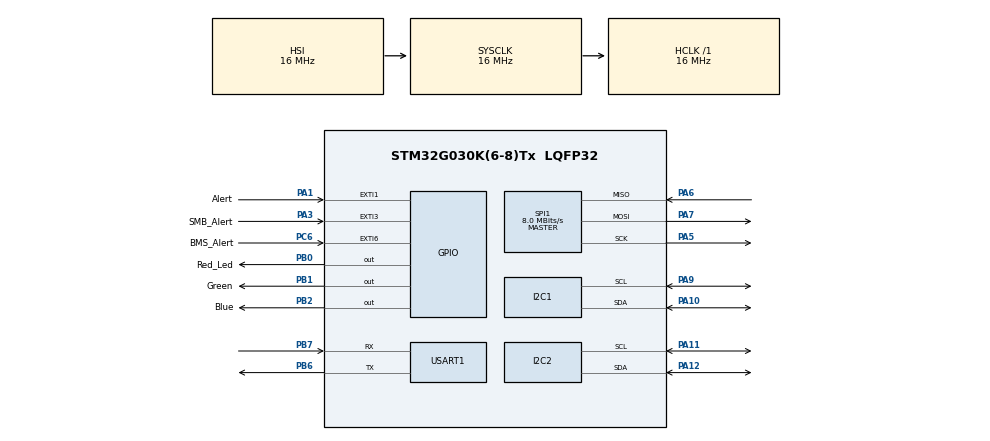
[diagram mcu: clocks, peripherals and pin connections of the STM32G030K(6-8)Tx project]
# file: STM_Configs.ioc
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I2C1.Timing=0x00503D58
I2C2.Timing=0x00503D58
Mcu.Family=STM32G0
Mcu.Name=STM32G030K(6-8)Tx
Mcu.Package=LQFP32
PA1.GPIO_Label=Alert
PA1.Signal=GPXTI1
PA10.Mode=I2C
PA10.Signal=I2C1_SDA
PA11\ [PA9].Mode=I2C
PA11\ [PA9].Signal=I2C2_SCL
PA12\ [PA10].Mode=I2C
PA12\ [PA10].Signal=I2C2_SDA
PA13.Mode=Serial_Wire
PA13.Signal=SYS_SWDIO
PA14-BOOT0.Mode=Serial_Wire
PA14-BOOT0.Signal=SYS_SWCLK
PA3.GPIO_Label=SMB_Alert
PA3.Signal=GPXTI3
PA4.Signal=SPI1_NSS
PA5.Mode=Full_Duplex_Master
PA5.Signal=SPI1_SCK
PA6.Mode=Full_Duplex_Master
PA6.Signal=SPI1_MISO
PA7.Mode=Full_Duplex_Master
PA7.Signal=SPI1_MOSI
PA9.Mode=I2C
PA9.Signal=I2C1_SCL
PB0.GPIO_Label=Red_Led
PB0.Signal=GPIO_Output
PB1.GPIO_Label=Green
PB1.Signal=GPIO_Output
PB2.GPIO_Label=Blue
PB2.Signal=GPIO_Output
PB6.Mode=Asynchronous
PB6.Signal=USART1_TX
PB7.Mode=Asynchronous
PB7.Signal=USART1_RX
PC6.GPIO_Label=BMS_Alert
PC6.Signal=GPXTI6
ProjectManager.HeapSize=0x200
ProjectManager.StackSize=0x400
ProjectManager.TargetToolchain=STM32CubeIDE
RCC.AHBFreq_Value=16000000
RCC.CortexFreq_Value=16000000
RCC.EXTERNAL_CLOCK_VALUE=12288000
RCC.HCLKFreq_Value=16000000
RCC.HSE_VALUE=8000000
RCC.HSI_VALUE=16000000
RCC.LSE_VALUE=32768
RCC.SYSCLKFreq_VALUE=16000000
RCC.VCOOutputFreq_Value=128000000
SPI1.CalculateBaudRate=8.0 MBits/s
SPI1.Direction=SPI_DIRECTION_2LINES
SPI1.Mode=SPI_MODE_MASTER
SPI1.VirtualType=VM_MASTER
USART1.VirtualMode-Asynchronous=VM_ASYNC
board=custom

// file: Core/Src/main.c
/* USER CODE BEGIN Header */
/**
  ******************************************************************************
  * @file           : main.c
  * @brief          : Main program body
  ******************************************************************************
  * @attention
  *
  * Copyright (c) 2026 STMicroelectronics.
  * All rights reserved.
  *
  * This software is licensed under terms that can be found in the LICENSE file
  * in the root directory of this software component.
  * If no LICENSE file comes with this software, it is provided AS-IS.
  *
  ******************************************************************************
  */
/* USER CODE END Header */
#include "main.h"
#include "i2c.h"
#include "spi.h"
#include "usart.h"
#include "gpio.h"

/* USER CODE BEGIN Includes */
#include "bms_app.h"
#include "bms_i2c.h"
#include "telemetry.h"
/* USER CODE END Includes */

/* USER CODE BEGIN PV */
static BMS_AppContext g_bms_app;
/* USER CODE END PV */

void SystemClock_Config(void);

/* USER CODE BEGIN 0 */
static void BMS_TelemetryUartSink(const char *line, size_t len, void *ctx)
{
  static const uint8_t crlf[2] = {'\r', '\n'};
  (void)ctx;
  if ((line == 0) || (len == 0U)) {
    return;
  }
  (void)HAL_UART_Transmit(&huart1, (uint8_t *)line, (uint16_t)len, 50U);
  (void)HAL_UART_Transmit(&huart1, (uint8_t *)crlf, 2U, 50U);
}
/* USER CODE END 0 */

int main(void)
{

  /* MCU Configuration--------------------------------------------------------*/

  /* Reset of all peripherals, Initializes the Flash interface and the Systick. */
  HAL_Init();

  /* Configure the system clock */
  SystemClock_Config();

  /* Initialize all configured peripherals */
  MX_GPIO_Init();
  MX_I2C1_Init();
  MX_I2C2_Init();
  MX_SPI1_Init();
  MX_USART1_UART_Init();
  /* USER CODE BEGIN 2 */
  Telemetry_Init();
  Telemetry_SetSink(BMS_TelemetryUartSink, 0);
  BMS_I2C_UseHalTransport();
  BMS_App_Init(&g_bms_app);
  BMS_App_OnBoot(&g_bms_app, HAL_GetTick());
  (void)Telemetry_Service(16U);
  /* USER CODE END 2 */

  /* Infinite loop */
  while (1)
  {

    /* USER CODE BEGIN 3 */
    BMS_App_Service(&g_bms_app, HAL_GetTick());
  }
  /* USER CODE END 3 */
}

void SystemClock_Config(void)
{
  RCC_OscInitTypeDef RCC_OscInitStruct = {0};
  RCC_ClkInitTypeDef RCC_ClkInitStruct = {0};

  /** Configure the main internal regulator output voltage
  */
  HAL_PWREx_ControlVoltageScaling(PWR_REGULATOR_VOLTAGE_SCALE1);

  /** Initializes the RCC Oscillators according to the specified parameters
  * in the RCC_OscInitTypeDef structure.
  */
  RCC_OscInitStruct.OscillatorType = RCC_OSCILLATORTYPE_HSI;
  RCC_OscInitStruct.HSIState = RCC_HSI_ON;
  RCC_OscInitStruct.HSIDiv = RCC_HSI_DIV1;
  RCC_OscInitStruct.HSICalibrationValue = RCC_HSICALIBRATION_DEFAULT;
  RCC_OscInitStruct.PLL.PLLState = RCC_PLL_NONE;
  if (HAL_RCC_OscConfig(&RCC_OscInitStruct) != HAL_OK)
  {
    Error_Handler();
  }

  /** Initializes the CPU, AHB and APB buses clocks
  */
  RCC_ClkInitStruct.ClockType = RCC_CLOCKTYPE_HCLK|RCC_CLOCKTYPE_SYSCLK
                              |RCC_CLOCKTYPE_PCLK1;
  RCC_ClkInitStruct.SYSCLKSource = RCC_SYSCLKSOURCE_HSI;
  RCC_ClkInitStruct.AHBCLKDivider = RCC_SYSCLK_DIV1;
  RCC_ClkInitStruct.APB1CLKDivider = RCC_HCLK_DIV1;

  if (HAL_RCC_ClockConfig(&RCC_ClkInitStruct, FLASH_LATENCY_0) != HAL_OK)
  {
    Error_Handler();
  }
}

void Error_Handler(void)
{
  __disable_irq();
  while (1)
  {
  }
}
